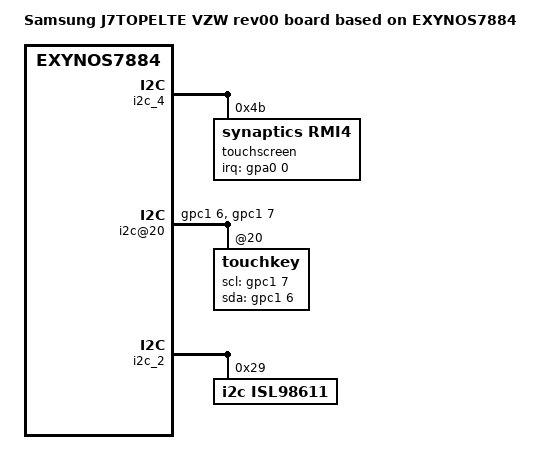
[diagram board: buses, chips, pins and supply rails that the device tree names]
/*
 * SAMSUNG UNIVERSAL7885 board device tree source
 *
 * Copyright (c) 2013 Samsung Electronics Co., Ltd.
 *		http://www.samsung.com
 *
 * This program is free software; you can redistribute it and/or modify
 * it under the terms of the GNU General Public License version 2 as
 * published by the Free Software Foundation.
*/

/dts-v1/;
#include "exynos7884-j7topelte_common.dtsi"
#include "exynos7884-j7topelte_usa_gpio_00.dtsi"
//#include "exynos7885-j7topelte_svcled.dtsi"

/ {
	model = "Samsung J7TOPELTE VZW rev00 board based on EXYNOS7884";
	model_info-chip = <7885>;
	model_info-platform = "android";
	model_info-subtype = "samsung";
	model_info-hw_rev = <0>;
	model_info-hw_rev_end = <0>;
	compatible = "samsung, J7TOPELTE VZW rev00", "samsung,Universal7884";

	pinctrl@139B0000 {
		cfg_i2c: cfg-i2c {
			samsung,pins = "gpc1-7", "gpc1-6";
			samsung,pin-function = <2>;
			samsung,pin-pud = <0>;
			samsung,pin-drv = <0>;
		};
		cfg_gpio: cfg-gpio {
			samsung,pins = "gpc1-7", "gpc1-6";
			samsung,pin-function = <0>;
			samsung,pin-pud = <0>;
			samsung,pin-drv = <0>;
		};
	};

	i2c_4:i2c@13870000 {
		status = "okay";
		#address-cells = <1>;
		#size-cells = <0>;
		samsung,i2c-max-bus-freq = <400000>;
		touchscreen@4b {
			compatible = "synaptics,rmi4";
			reg = <0x4b>;
			pinctrl-names = "default", "on_state", "off_state";
			pinctrl-0 = <&attn_irq>;
			pinctrl-1 = <&i2c_on>;
			pinctrl-2 = <&i2c_off>;
			synaptics,irq_gpio = <&gpa0 0 0>;
			synaptics,irq_type = <8200>;
			synaptics,max_coords = <720 1280>;	/* x y */
			synaptics,num_lines = <32 18>;		/* rx tx */
			synaptics,ub-i2c-addr = <0x2c>;
			synaptics,reset-delay-ms = <150>;
			synaptics,firmware_name = "tsp_synaptics/td4100_j7pop.fw";
			synaptics,firmware_name_bl = "tsp_synaptics/td4100_j7pop_recovery.fw";
		};

		touchscreen@48 {
			status = "disabled";
		};
	};

	i2c@20 {
		gpios = <&gpc1 6 0 &gpc1 7 0>;
		touchkey@20 {
			coreriver,scl-gpio = <&gpc1 7 0>;
			coreriver,sda-gpio = <&gpc1 6 0>;
		};
	};

	dsim_0: dsim@0x14870000 {
		lcd_info = <&td4100_old>;
	};

	i2c_2: i2c@13850000 {
		status = "okay";
		samsung,i2c-max-bus-freq = <400000>;
		isl98611@29 {
			compatible = "i2c,isl98611";
			reg = <0x29>;
		};
	};
	decon_board_list: decon_board_list {
		dsim_set_panel_power_early {
			type = "gpio,high", "delay,usleep";
			gpios = <&gpg2 6 0x1>;
			delay = <10000 11000>;
		};
		dsim_set_panel_power_enable {
			type = "gpio,high", "delay,usleep", "gpio,high", "delay,usleep", "gpio,high", "delay,usleep";
			gpios = <&gpg2 7 0x1>, <&gpg1 5 0x1>, <&gpg1 6 0x1>; // DDI -> BL_EN -> ENP -> ENN
			delay = <1000 2000>, <1000 2000>, <10000 11000>;
		};
		dsim_set_panel_power_disable {
			type = "delay,usleep", "gpio,low", "delay,usleep", "gpio,low", "delay,usleep", "gpio,low", "delay,usleep", "gpio,low", "delay,usleep", "gpio,low";
			gpios = <&gpg1 6 0x1>, <&gpg1 5 0x1>, <&gpg1 7 0x1>, <&gpg2 7 0x1>, <&gpg2 6 0x1>; // ENN -> ENP -> RESET -> BL_EN -> DDI
			delay = <5000 6000>, <5000 6000>, <15000 16000>, <5000 6000>, <10000 11000>;
		};
		dsim_reset_panel {
			type = "gpio,high", "delay,usleep", "gpio,low", "delay,usleep", "gpio,high",  "delay,msleep";
			gpios = <&gpg1 7 0x1>, <&gpg1 7 0x1>, <&gpg1 7 0x1>;
			delay = <1000 1100>, <1000 1100>, <130>;
		};
	};
};

